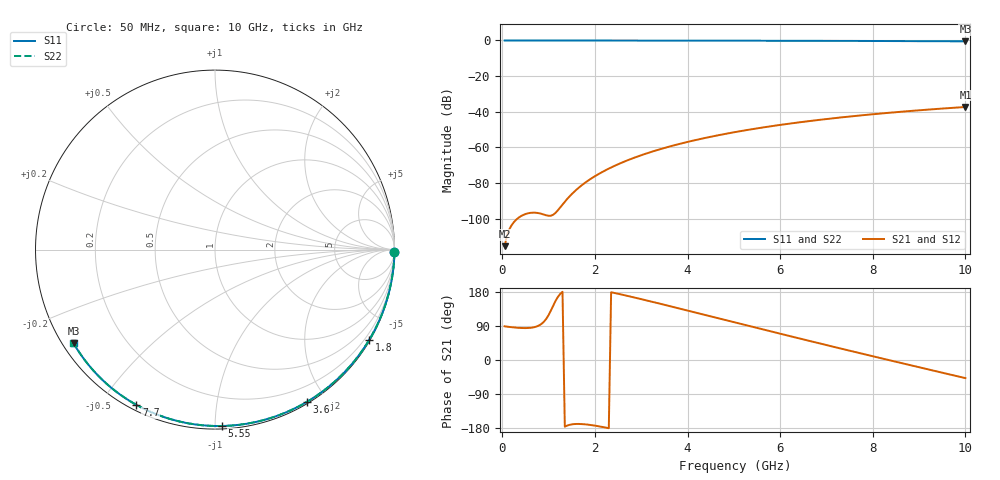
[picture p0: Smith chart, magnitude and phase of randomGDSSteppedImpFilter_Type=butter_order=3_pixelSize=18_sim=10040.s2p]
! freq	dB(S11)	phase(S11)	dB(S12)	phase(S12)
!  dB(S21)	phase(S21)	dB(S22)	phase(S22)
!S-par simulation data
#  GHz  S  DB  R 50
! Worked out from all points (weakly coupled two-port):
!   200 points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, 50 MHz to 10 GHz, reference 50 ohm
!   highest |S21| = -37.31 dB at 10 GHz (marker M1); lowest = -115.4 dB at 50 MHz (marker M2)
!   lowest |S11| = -0.5 dB at 10 GHz (marker M3), VSWR 35.35, Z = 1.54 - j15 ohm
!   |S11| at or under -10 dB: nowhere
!   |S22| runs from -0.5 to 0.0 dB; largest |S21 - S12| = 0
!   S11 on the Smith chart (normalised r, x): 50 MHz: open; 1.8 GHz: 0.03, -3.70; 3.6 GHz: 0.02, -1.77; 5.55 GHz: 0.02, -1.04; 7.7 GHz: 0.02, -0.61; 10 GHz: 0.03, -0.30
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0.05  -0.00 -0.9  -115.37 89.0  -115.37 89.0  -0.00 -0.9
0.45  -0.01 -7.7  -97.89 84.3  -97.89 84.3  -0.01 -7.7
0.9  -0.02 -15.3  -97.67 101.1  -97.67 101.1  -0.02 -15.3
1.3  -0.03 -21.9  -92.01 180.0  -92.01 180.0  -0.03 -21.9
1.75  -0.04 -29.4  -80.52 -169.4  -80.52 -169.4  -0.04 -29.4
1.8  -0.04 -30.2  -79.56 -169.9  -79.56 -169.9  -0.04 -30.2
1.95  -0.04 -32.7  -76.93 -172.2  -76.93 -172.2  -0.04 -32.7
2.1  -0.04 -35.1  -74.61 -175.2  -74.61 -175.2  -0.04 -35.1
2.3  -0.05 -38.4  -71.86 -180.0  -71.86 -180.0  -0.05 -38.4
2.5  -0.05 -41.6  -69.44 174.8  -69.44 174.8  -0.05 -41.6
2.9  -0.06 -48.0  -65.29 163.6  -65.29 163.6  -0.06 -48.0
3.4  -0.07 -55.8  -61.04 148.7  -61.04 148.7  -0.07 -55.8
3.6  -0.08 -58.9  -59.57 142.7  -59.57 142.7  -0.08 -58.9
4.3  -0.10 -69.5  -55.12 121.3  -55.12 121.3  -0.10 -69.5
5.05  -0.12 -80.5  -51.28 98.3  -51.28 98.3  -0.12 -80.5
5.55  -0.14 -87.7  -49.11 83.1  -49.11 83.1  -0.14 -87.7
6.1  -0.17 -95.4  -47.00 66.4  -47.00 66.4  -0.17 -95.4
6.7  -0.20 -103.5  -44.99 48.3  -44.99 48.3  -0.20 -103.6
7.7  -0.27 -116.8  -42.14 18.7  -42.14 18.7  -0.27 -116.9
8.35  -0.32 -125.3  -40.56 -0.3  -40.56 -0.3  -0.32 -125.4
9.2  -0.40 -136.3  -38.76 -24.9  -38.76 -24.9  -0.40 -136.4
10  -0.49 -146.5  -37.31 -47.8  -37.31 -47.8  -0.50 -146.7
